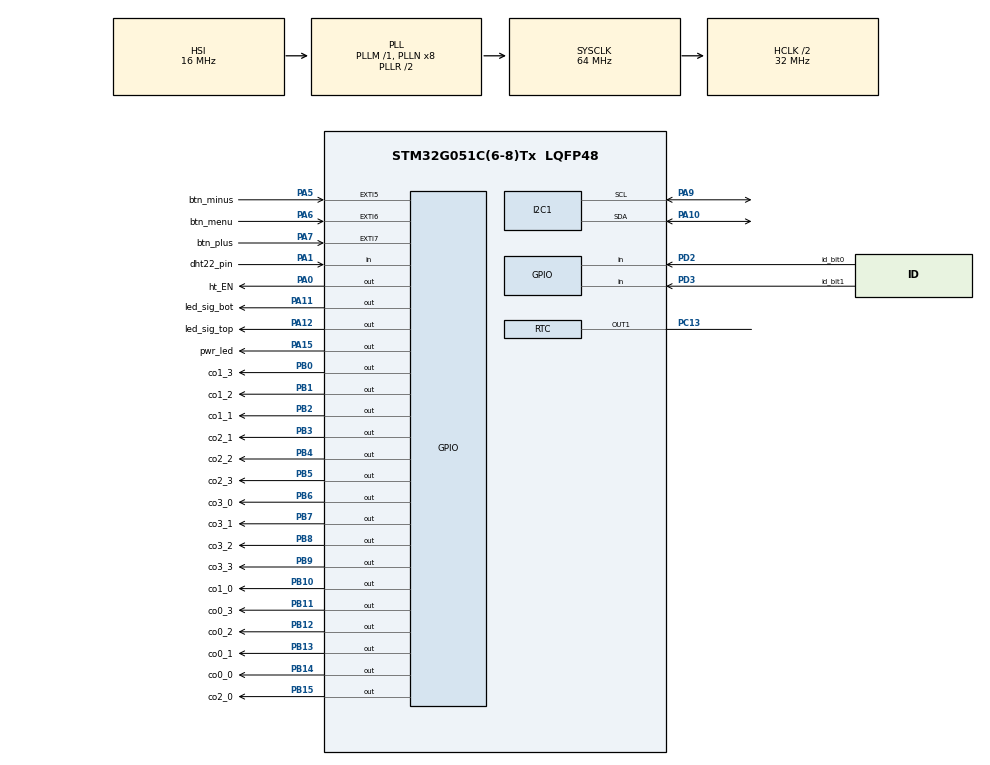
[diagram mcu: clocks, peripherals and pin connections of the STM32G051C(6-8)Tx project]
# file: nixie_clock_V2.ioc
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I2C1.Timing=0x00B07CB4
Mcu.Family=STM32G0
Mcu.Name=STM32G051C(6-8)Tx
Mcu.Package=LQFP48
NVIC.EXTI4_15_IRQn=true\:0\:0\:false\:false\:true\:true\:true\:true
NVIC.RTC_TAMP_IRQn=true\:0\:0\:false\:false\:true\:true\:true\:true
NVIC.TIM1_BRK_UP_TRG_COM_IRQn=true\:0\:0\:false\:false\:true\:true\:true\:true
PA0.GPIO_Label=ht_EN
PA0.GPIO_PuPd=GPIO_PULLUP
PA0.PinState=GPIO_PIN_SET
PA0.Signal=GPIO_Output
PA1.GPIO_Label=dht22_pin
PA1.GPIO_PuPd=GPIO_PULLUP
PA1.Signal=GPIO_Input
PA10.Mode=I2C
PA10.Signal=I2C1_SDA
PA11\ [PA9].GPIO_Label=led_sig_bot
PA11\ [PA9].Signal=GPIO_Output
PA12\ [PA10].GPIO_Label=led_sig_top
PA12\ [PA10].Signal=GPIO_Output
PA15.GPIO_Label=pwr_led
PA15.PinState=GPIO_PIN_SET
PA15.Signal=GPIO_Output
PA5.GPIO_Label=btn_minus
PA5.GPIO_ModeDefaultEXTI=GPIO_MODE_IT_FALLING
PA5.Signal=GPXTI5
PA6.GPIO_Label=btn_menu
PA6.GPIO_ModeDefaultEXTI=GPIO_MODE_IT_FALLING
PA6.Signal=GPXTI6
PA7.GPIO_Label=btn_plus
PA7.GPIO_ModeDefaultEXTI=GPIO_MODE_IT_FALLING
PA7.Signal=GPXTI7
PA9.Mode=I2C
PA9.Signal=I2C1_SCL
PB0.GPIO_Label=co1_3
PB0.GPIO_ModeDefaultOutputPP=GPIO_MODE_OUTPUT_PP
PB0.GPIO_PuPd=GPIO_PULLDOWN
PB0.GPIO_Speed=GPIO_SPEED_FREQ_LOW
PB0.PinState=GPIO_PIN_RESET
PB0.Signal=GPIO_Output
PB1.GPIO_Label=co1_2
PB1.GPIO_ModeDefaultOutputPP=GPIO_MODE_OUTPUT_PP
PB1.GPIO_PuPd=GPIO_PULLDOWN
PB1.GPIO_Speed=GPIO_SPEED_FREQ_LOW
PB1.PinState=GPIO_PIN_RESET
PB1.Signal=GPIO_Output
PB10.GPIO_Label=co1_0
PB10.GPIO_ModeDefaultOutputPP=GPIO_MODE_OUTPUT_PP
PB10.GPIO_PuPd=GPIO_PULLDOWN
PB10.GPIO_Speed=GPIO_SPEED_FREQ_LOW
PB10.PinState=GPIO_PIN_RESET
PB10.Signal=GPIO_Output
PB11.GPIO_Label=co0_3
PB11.GPIO_ModeDefaultOutputPP=GPIO_MODE_OUTPUT_PP
PB11.GPIO_PuPd=GPIO_PULLDOWN
PB11.GPIO_Speed=GPIO_SPEED_FREQ_LOW
PB11.PinState=GPIO_PIN_RESET
PB11.Signal=GPIO_Output
PB12.GPIO_Label=co0_2
PB12.GPIO_ModeDefaultOutputPP=GPIO_MODE_OUTPUT_PP
PB12.GPIO_PuPd=GPIO_PULLDOWN
PB12.GPIO_Speed=GPIO_SPEED_FREQ_LOW
PB12.PinState=GPIO_PIN_RESET
PB12.Signal=GPIO_Output
PB13.GPIO_Label=co0_1
PB13.GPIO_ModeDefaultOutputPP=GPIO_MODE_OUTPUT_PP
PB13.GPIO_PuPd=GPIO_PULLDOWN
PB13.GPIO_Speed=GPIO_SPEED_FREQ_LOW
PB13.PinState=GPIO_PIN_RESET
PB13.Signal=GPIO_Output
PB14.GPIO_Label=co0_0
PB14.GPIO_ModeDefaultOutputPP=GPIO_MODE_OUTPUT_PP
PB14.GPIO_PuPd=GPIO_PULLDOWN
PB14.GPIO_Speed=GPIO_SPEED_FREQ_LOW
PB14.PinState=GPIO_PIN_RESET
PB14.Signal=GPIO_Output
PB15.GPIO_Label=co2_0
PB15.GPIO_ModeDefaultOutputPP=GPIO_MODE_OUTPUT_PP
PB15.GPIO_PuPd=GPIO_PULLDOWN
PB15.GPIO_Speed=GPIO_SPEED_FREQ_LOW
PB15.PinState=GPIO_PIN_RESET
PB15.Signal=GPIO_Output
PB2.GPIO_Label=co1_1
PB2.GPIO_ModeDefaultOutputPP=GPIO_MODE_OUTPUT_PP
PB2.GPIO_PuPd=GPIO_PULLDOWN
PB2.GPIO_Speed=GPIO_SPEED_FREQ_LOW
PB2.PinState=GPIO_PIN_RESET
PB2.Signal=GPIO_Output
PB3.GPIO_Label=co2_1
PB3.GPIO_ModeDefaultOutputPP=GPIO_MODE_OUTPUT_PP
PB3.GPIO_PuPd=GPIO_PULLDOWN
PB3.GPIO_Speed=GPIO_SPEED_FREQ_LOW
PB3.PinState=GPIO_PIN_RESET
PB3.Signal=GPIO_Output
PB4.GPIO_Label=co2_2
PB4.GPIO_ModeDefaultOutputPP=GPIO_MODE_OUTPUT_PP
PB4.GPIO_PuPd=GPIO_PULLDOWN
PB4.GPIO_Speed=GPIO_SPEED_FREQ_LOW
PB4.PinState=GPIO_PIN_RESET
PB4.Signal=GPIO_Output
PB5.GPIO_Label=co2_3
PB5.GPIO_ModeDefaultOutputPP=GPIO_MODE_OUTPUT_PP
PB5.GPIO_PuPd=GPIO_PULLDOWN
PB5.GPIO_Speed=GPIO_SPEED_FREQ_LOW
PB5.PinState=GPIO_PIN_RESET
PB5.Signal=GPIO_Output
PB6.GPIO_Label=co3_0
PB6.GPIO_ModeDefaultOutputPP=GPIO_MODE_OUTPUT_PP
PB6.GPIO_PuPd=GPIO_PULLDOWN
PB6.GPIO_Speed=GPIO_SPEED_FREQ_LOW
PB6.PinState=GPIO_PIN_RESET
PB6.Signal=GPIO_Output
PB7.GPIO_Label=co3_1
PB7.GPIO_ModeDefaultOutputPP=GPIO_MODE_OUTPUT_PP
PB7.GPIO_PuPd=GPIO_PULLDOWN
PB7.GPIO_Speed=GPIO_SPEED_FREQ_LOW
PB7.PinState=GPIO_PIN_RESET
PB7.Signal=GPIO_Output
PB8.GPIO_Label=co3_2
PB8.GPIO_ModeDefaultOutputPP=GPIO_MODE_OUTPUT_PP
PB8.GPIO_PuPd=GPIO_PULLDOWN
PB8.GPIO_Speed=GPIO_SPEED_FREQ_LOW
PB8.PinState=GPIO_PIN_RESET
PB8.Signal=GPIO_Output
PB9.GPIO_Label=co3_3
PB9.GPIO_ModeDefaultOutputPP=GPIO_MODE_OUTPUT_PP
PB9.GPIO_PuPd=GPIO_PULLDOWN
PB9.GPIO_Speed=GPIO_SPEED_FREQ_LOW
PB9.PinState=GPIO_PIN_RESET
PB9.Signal=GPIO_Output
PC13.Mode=Calibration_1Hz
PC13.Signal=RTC_OUT1
PC14-OSC32_IN\ (PC14).Mode=LSE-External-Oscillator
PC14-OSC32_IN\ (PC14).Signal=RCC_OSC32_IN
PC15-OSC32_OUT\ (PC15).Mode=LSE-External-Oscillator
PC15-OSC32_OUT\ (PC15).Signal=RCC_OSC32_OUT
PD2.GPIO_Label=id_bit0
PD2.GPIO_PuPd=GPIO_PULLUP
PD2.Signal=GPIO_Input
PD3.GPIO_Label=id_bit1
PD3.GPIO_PuPd=GPIO_PULLUP
PD3.Signal=GPIO_Input
ProjectManager.HeapSize=0x200
ProjectManager.StackSize=0x400
ProjectManager.TargetToolchain=CMake
RCC.ADCFreq_Value=64000000
RCC.AHBCLKDivider=RCC_SYSCLK_DIV2
RCC.AHBFreq_Value=32000000
RCC.CortexFreq_Value=32000000
RCC.EXTERNAL_CLOCK_VALUE=48000
RCC.HCLKFreq_Value=32000000
RCC.HSE_VALUE=8000000
RCC.HSI_VALUE=16000000
RCC.RTCClockSelection=RCC_RTCCLKSOURCE_LSE
RCC.SYSCLKFreq_VALUE=64000000
RCC.SYSCLKSource=RCC_SYSCLKSOURCE_PLLCLK
RCC.VCOOutputFreq_Value=128000000
RTC.Alarm-Alarm\ A=RTC_ALARM_A
RTC.Date=15
RTC.DayLightSaving=RTC_DAYLIGHTSAVING_ADD1H
RTC.Hours=14
RTC.Minutes=10
RTC.Month=RTC_MONTH_OCTOBER
RTC.WakeUpClock-WakeUp=RTC_WAKEUPCLOCK_CK_SPRE_16BITS
RTC.WakeUpCounter-WakeUp=0
RTC.WeekDay=RTC_WEEKDAY_WEDNESDAY
TIM1.AutoReloadPreload=TIM_AUTORELOAD_PRELOAD_ENABLE
TIM1.ClockDivision=TIM_CLOCKDIVISION_DIV1
TIM1.Period=24000
TIM1.Prescaler=1000
VP_RTC_VS_RTC_Activate.Mode=RTC_Enabled
VP_RTC_VS_RTC_Alarm_A_Intern.Mode=Alarm A
VP_RTC_VS_RTC_Calendar.Mode=RTC_Calendar
VP_RTC_VS_RTC_WakeUp_intern.Mode=WakeUp
VP_SYS_VS_DBSignals.Mode=DisableDeadBatterySignals
VP_TIM1_VS_ClockSourceINT.Mode=Internal
board=custom

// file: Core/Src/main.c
/* USER CODE BEGIN Header */
/**
  ******************************************************************************
  * @file           : main.c
  * @brief          : Main program body
  ******************************************************************************
  * @attention
  *
  * Copyright (c) 2025 STMicroelectronics.
  * All rights reserved.
  *
  * This software is licensed under terms that can be found in the LICENSE file
  * in the root directory of this software component.
  * If no LICENSE file comes with this software, it is provided AS-IS.
  *
  ******************************************************************************
  */

/**
 * WHEN GENERATING NEW CODE VIA CUBEMX ------> COMMENT OUT THE TIME SETTING IN RTC INIT
 */

 /** TO DO LIST
  * //TODO: Implement indicator LEDS on the front and their function
  * //TODO: Implement manual time setting via buttons
  * //TODO: Implement On/Off automatic
  * //TODO: Implement ID system for submodules
  * //TODO: Implement DCF77 Code
 */

/* USER CODE END Header */
#include "main.h"

/* USER CODE BEGIN Includes */
#include "cmsis_gcc.h"
#include "ssd1306_fonts.h"
#include "stm32g051xx.h"
#include "stm32g0xx_hal.h"
#include "stm32g0xx_hal_def.h"
#include "stm32g0xx_hal_gpio.h"
#include "stm32g0xx_hal_rtc.h"
#include "stm32g0xx_hal_rtc_ex.h"

#include <stdint.h>
#include "stdio.h"
#include "ssd1306.h"
#include "output_tube.h"
#include "menu.h"
#include "stm32g0xx_hal_tim.h"
#include "dht22.h"
/* USER CODE END Includes */

/* USER CODE BEGIN PTD */
/**
 * DataDigital struct to hold digital values of the time from RTC
 */
struct time_date_DataDigital {
  uint8_t hours, minutes, seconds;

  uint8_t day, weekday, month, year;
} TD_data;

/* USER CODE END PTD */

/* USER CODE BEGIN PM */

#define DISPLAY_TIME_DATE_X_OFFSET 42
#define DISPLAY_TIME_Y_OFFSET       0
#define DISPLAY_DATE_Y_OFFSET      11
#define DISPLAY_MISC_Y_OFFSET      22
#define DISPLAY_MISC_X_OFFSET     112

/**
 * These should only be used one time at the first programming of the mcu. When you do have to manually set the time, just
 * put the right data here and change the RANDOM_SEED_OFFSET to something diffrent than the current value (16bit)
 */
#define RANDOM_SEED_UPDATE 0x2344

#define CURRENT_TIME_HOURS   13
#define CURRENT_TIME_MINUTES 13
#define CURRENT_TIME_SECONDS  0

#define CURRENT_DATE_YEAR    25
#define CURRENT_DATE_MONTH   12
#define CURRENT_DATE_DAY     16
#define CURRENT_DATE_WEEKDAY  2

//Interval in which the time updates. 1s for oled screen and second accuracy, 60 for nixie display
#define UPDATE_INTERVAL 60

//Reset time for the display of the menu button on the oled
#define DISPLAY_MENU_RESET_TIME 750

//Timeouts for the menus. 10s for temp and hmd, 60s for everything else
#define DISPLAY_MENU_1_TIMEOUT 10000
#define DISPLAY_MENU_X_TIMEOUT 60000

#define set 1
#define true 1
#define isSet 1
#define isPressed 1

#define reset 0
#define false 0
#define isNotSet 0
#define isNotPressed 0

//--------------------------------------------------------- Menu stuff makros and variables

#define menu_size 8

/**
 * @brief: Main menu structure for the whole clock
 * @param 0 -> normal time display
 * @param 1 -> Temperature and humidity sensor (Timeout 5s)
 * @param 2 -> Start/stop Time (time setting like above, but for start AND stop time) (Maybe multiple ones for morning and evening times?) (Timeout 30s) (Override with long press till next shutoff?)
 * @param 3 -> Time set (GETS DISABLED WHEN DCF77 PLUGIN BOARD ARE USED) (1. hours tens; 2. hours ones; 3. minutes tens; 4. minutes ones) (Timeout 30s)
 */
uint8_t menu_pos = 0;
uint8_t menu_pos_old = 0;

uint16_t menu_time_set[4] = {1010,110,101,11};
/* USER CODE END PM */

I2C_HandleTypeDef hi2c1;

RTC_HandleTypeDef hrtc;

TIM_HandleTypeDef htim1;

/* USER CODE BEGIN PV */
volatile uint8_t tick_flag = isNotSet;
volatile uint8_t counter_seconds = 0;

/**
 * Value of the button being pressed.
 * 1: MINUS
 * 2: MENU
 * 3: PLUS
 */
volatile int8_t btn_flag_menu  = 0;
volatile int8_t btn_flag_plus  = 0;
volatile int8_t btn_flag_minus = 0;

//used for blinking the screen when in menu. Set to DISPLAY_BLINK_TIME
volatile uint8_t tick_blink = 0;
uint8_t tick_blink_flag = 0;

uint8_t btn_pressed_flag = isNotPressed;

//for when the sensor is being used
volatile uint8_t sensor_flag = 0;

uint8_t id_read = 0b0011;

#if DEBUG_DISPLAY
/**
 * Char arrays to use strings directly on oled, could be omitted on final device.
 */
char timeData[15];
char dateData[15];
char miscData[2];
#endif

uint8_t check_if_addon();

HAL_StatusTypeDef setTime(uint8_t hour, uint8_t minute, uint8_t second);
HAL_StatusTypeDef setDate(uint8_t year, uint8_t month, uint8_t weekday, uint8_t date);
HAL_StatusTypeDef getTimeDate(char* time, char* date, struct time_date_DataDigital* dTime);

void set_tube_numbers(struct time_date_DataDigital* _time_date_data);
uint16_t combine_4bit_numbers(uint8_t num0, uint8_t num1, uint8_t num2, uint8_t num3);
void output_to_tubes(uint16_t _data);

void output_front_led(uint8_t led0, uint8_t led1);
void output_blink_front_leds(uint8_t _mode);

void menu1();
void menu_startStop();
void menu_timeSet();
void menu_timeout(uint8_t _menu_pos);

/**
 * main counter for getTick function
 */
uint32_t start_ms_counter = 0;
uint32_t start_ms_counter_blink = 0;
uint32_t start_ms_counter_menuTimeout = 0;
uint8_t  error_count = 0;

/* USER CODE END PV */

void SystemClock_Config(void);
static void MX_GPIO_Init(void);
static void MX_I2C1_Init(void);
static void MX_RTC_Init(void);
static void MX_TIM1_Init(void);
/* USER CODE BEGIN PFP */

#if DEBUG_DISPLAY
void ssd1306_writeTime(char* time);
void ssd1306_writeDate(char* date);
void ssd1306_writeTimeDate(char* time, char* date);
void ssd1306_writeMisc(char* _data);
#endif

/* USER CODE END PFP */

int main(void)
{

  /* MCU Configuration--------------------------------------------------------*/

  /* Reset of all peripherals, Initializes the Flash interface and the Systick. */
  HAL_Init();

  /* Configure the system clock */
  SystemClock_Config();

  /* Initialize all configured peripherals */
  MX_GPIO_Init();
  MX_I2C1_Init();
  MX_RTC_Init();
  MX_TIM1_Init();
  /* USER CODE BEGIN 2 */

  HAL_TIM_Base_Start_IT(&htim1);

  //Initialize the RTC
  HAL_RTC_Init(&hrtc);

  /**
   * If the random number stored in the backup register is diffrent from the current value, its not updating the Time and Date.
   * Seed, Time and Date are stored in makros
   */
   if(HAL_RTCEx_BKUPRead(&hrtc, RTC_BKP_DR1) != RANDOM_SEED_UPDATE) {
    setTime(CURRENT_TIME_HOURS, CURRENT_TIME_MINUTES, CURRENT_TIME_SECONDS);
    setDate(CURRENT_DATE_YEAR, CURRENT_DATE_MONTH, CURRENT_DATE_WEEKDAY, CURRENT_DATE_DAY);
  }

  __disable_irq();
  //Try 10 times or till a HAL_OK is retrieved to get the time from RTC
  if(getTimeDate(timeData, dateData, &TD_data) != HAL_OK) {
    HAL_StatusTypeDef _Status = HAL_ERROR;
    uint8_t tries = 0;
    while((_Status == HAL_ERROR) || (tries <= 10)) {
      _Status = getTimeDate(timeData, dateData, &TD_data);
      tries++;
    }
  }
  __enable_irq();

  //Set the Front LEDs On
  output_front_led(1, 1);

  //Output current time to tubes
  set_tube_numbers(&TD_data);

  #if DEBUG_DISPLAY
  /**
   * Constructor for the basic oled menu with predeceeding welcome message
   * // TODO LATER create a module check and modules (e.g. WIFI time sync, smart home features, etc.)
   */

  ssd1306_Init();
  ssd1306_SetCursor(10, 10);
  ssd1306_WriteString("Nixie Clock V2", Font_7x10, White);
  ssd1306_UpdateScreen();
  HAL_Delay(500);
  ssd1306_Fill(Black);
  ssd1306_SetCursor(0, 0);
  ssd1306_WriteString("Time: ", Font_7x10, White);
  ssd1306_writeTime(timeData);
  ssd1306_SetCursor(0, 11);
  ssd1306_WriteString("Date: ", Font_7x10, White);
  ssd1306_writeDate(dateData);
  ssd1306_SetCursor(0, 22);
  ssd1306_WriteString("Menu Position: ", Font_7x10, White);
  miscData[0] = '0';
  ssd1306_writeMisc(miscData);
  ssd1306_UpdateScreen();
  #endif

  //check for installed submodules
  id_read = check_if_addon();

  /* USER CODE END 2 */

  /* Infinite loop */
  /* USER CODE BEGIN WHILE */
  while (1)
  {
    if(tick_flag == isSet) { //flag set by interrupt by RTC on 1Hz

      getTimeDate(timeData, dateData, &TD_data);      //Get tiome from RTC registers

      #if DEBUG_DISPLAY
      ssd1306_writeTimeDate(timeData, dateData);
      #endif

      //Update Nixies, they dont have seconds!
      if(TD_data.seconds == 0) {
        set_tube_numbers(&TD_data);
      }

      if(menu_pos == 1) {
        counter_seconds++;
        if(counter_seconds >=4) {
          sensor_flag = 1;
          counter_seconds = 0;
        }
      }

      tick_flag = reset; //reset update flag
    }

    /**
     * Reset button number after some time (defined in DISPLAY_MENU_RESET_TIME)
     */
    if(btn_pressed_flag && ((HAL_GetTick()-start_ms_counter) > DISPLAY_MENU_RESET_TIME)) {

      miscData[0] = '0';
      ssd1306_writeMisc(miscData);
      btn_pressed_flag = isNotPressed;
    }

    //only start one time per menu change
    if(menu_pos != menu_pos_old)  {
      start_ms_counter_menuTimeout = HAL_GetTick();
      menu_pos_old = menu_pos;
    }

    //If menu_pos is other than normal time setting (=0), go into this MAIN MENU STRUCTURE
    if(menu_pos != 0) {

      switch(menu_pos) {
        case 1: //Display Temp and Hmd on nixie tubes. Left Temp, right hmd. TIMEOUT = 10s
          if(id_read != 0x0) {
            menu_pos++;
            break;  //Skips this menu when no DCF77 addon board is connected
          }

          menu_timeout(1);
          menu1();
          output_blink_front_leds(0);

          break;

        case 2: case 3: //Set start time of the clock. Can be set multiple times for a morning and evening routine TIMEOUT = 60s
          menu_timeout(2);
          menu_startStop();
          output_blink_front_leds(2);

          break;

        case 4: case 5: //Set stop time of the clock.
          menu_timeout(2);
          menu_startStop();
          output_blink_front_leds(3);

          break;

        case 6: case 7: //Set the time manually. must be disabled when module '00' is used (DCF77) TIMEOUT = 60s
          menu_timeout(3);
          menu_timeSet();
          output_blink_front_leds(1);
          break;

        default: break;
      }

      btn_flag_menu =  reset;
      btn_flag_minus = reset;
      btn_flag_plus =  reset;
    } else if(menu_pos == 0) output_front_led(1, 1);

    #ifdef DEBUG
    sprintf(miscData, "%01d", menu_pos);
    ssd1306_writeMisc(miscData);
    #endif

    /**
     * Debug function for development of the buttons
     */
    /*
    if((btn_flag_plus == isPressed) || (btn_flag_menu == isPressed) || (btn_flag_minus == isPressed)) {

      if(btn_flag_menu) {
        miscData[0] = 'M';
        ssd1306_writeMisc(miscData);
      }
      if(btn_flag_plus) {
        miscData[0] = '+';
        ssd1306_writeMisc(miscData);
      }
      if(btn_flag_minus) {
        miscData[0] = '-';
        ssd1306_writeMisc(miscData);
      }
      */

      /*Turns on the HT PSU
      switch (btn_flag) {
        case 2:

          HAL_GPIO_TogglePin(ht_EN_GPIO_Port, ht_EN_Pin);
          break;

        default:
          break;
      } */

      //start_ms_counter = HAL_GetTick();
      //btn_pressed_flag = isPressed;
      /*
      btn_flag_menu =  reset;
      btn_flag_minus = reset;
      btn_flag_plus =  reset;
    }
    */
    /* USER CODE END WHILE */

  }
}

void SystemClock_Config(void)
{
  RCC_OscInitTypeDef RCC_OscInitStruct = {0};
  RCC_ClkInitTypeDef RCC_ClkInitStruct = {0};

  /** Configure the main internal regulator output voltage
  */
  HAL_PWREx_ControlVoltageScaling(PWR_REGULATOR_VOLTAGE_SCALE1);

  /** Configure LSE Drive Capability
  */
  HAL_PWR_EnableBkUpAccess();
  __HAL_RCC_LSEDRIVE_CONFIG(RCC_LSEDRIVE_LOW);

  /** Initializes the RCC Oscillators according to the specified parameters
  * in the RCC_OscInitTypeDef structure.
  */
  RCC_OscInitStruct.OscillatorType = RCC_OSCILLATORTYPE_HSI|RCC_OSCILLATORTYPE_LSE;
  RCC_OscInitStruct.LSEState = RCC_LSE_ON;
  RCC_OscInitStruct.HSIState = RCC_HSI_ON;
  RCC_OscInitStruct.HSIDiv = RCC_HSI_DIV1;
  RCC_OscInitStruct.HSICalibrationValue = RCC_HSICALIBRATION_DEFAULT;
  RCC_OscInitStruct.PLL.PLLState = RCC_PLL_ON;
  RCC_OscInitStruct.PLL.PLLSource = RCC_PLLSOURCE_HSI;
  RCC_OscInitStruct.PLL.PLLM = RCC_PLLM_DIV1;
  RCC_OscInitStruct.PLL.PLLN = 8;
  RCC_OscInitStruct.PLL.PLLP = RCC_PLLP_DIV2;
  RCC_OscInitStruct.PLL.PLLQ = RCC_PLLQ_DIV2;
  RCC_OscInitStruct.PLL.PLLR = RCC_PLLR_DIV2;
  if (HAL_RCC_OscConfig(&RCC_OscInitStruct) != HAL_OK)
  {
    Error_Handler();
  }

  /** Initializes the CPU, AHB and APB buses clocks
  */
  RCC_ClkInitStruct.ClockType = RCC_CLOCKTYPE_HCLK|RCC_CLOCKTYPE_SYSCLK
                              |RCC_CLOCKTYPE_PCLK1;
  RCC_ClkInitStruct.SYSCLKSource = RCC_SYSCLKSOURCE_PLLCLK;
  RCC_ClkInitStruct.AHBCLKDivider = RCC_SYSCLK_DIV2;
  RCC_ClkInitStruct.APB1CLKDivider = RCC_HCLK_DIV1;

  if (HAL_RCC_ClockConfig(&RCC_ClkInitStruct, FLASH_LATENCY_1) != HAL_OK)
  {
    Error_Handler();
  }
}

static void MX_I2C1_Init(void)
{

  hi2c1.Instance = I2C1;
  hi2c1.Init.Timing = 0x00B07CB4;
  hi2c1.Init.OwnAddress1 = 0;
  hi2c1.Init.AddressingMode = I2C_ADDRESSINGMODE_7BIT;
  hi2c1.Init.DualAddressMode = I2C_DUALADDRESS_DISABLE;
  hi2c1.Init.OwnAddress2 = 0;
  hi2c1.Init.OwnAddress2Masks = I2C_OA2_NOMASK;
  hi2c1.Init.GeneralCallMode = I2C_GENERALCALL_DISABLE;
  hi2c1.Init.NoStretchMode = I2C_NOSTRETCH_DISABLE;
  if (HAL_I2C_Init(&hi2c1) != HAL_OK)
  {
    Error_Handler();
  }

  /** Configure Analogue filter
  */
  if (HAL_I2CEx_ConfigAnalogFilter(&hi2c1, I2C_ANALOGFILTER_ENABLE) != HAL_OK)
  {
    Error_Handler();
  }

  /** Configure Digital filter
  */
  if (HAL_I2CEx_ConfigDigitalFilter(&hi2c1, 0) != HAL_OK)
  {
    Error_Handler();
  }

}

static void MX_RTC_Init(void)
{

  //RTC_TimeTypeDef sTime = {0};
  //RTC_DateTypeDef sDate = {0};
  RTC_AlarmTypeDef sAlarm = {0};

  /** Initialize RTC Only
  */
  hrtc.Instance = RTC;
  hrtc.Init.HourFormat = RTC_HOURFORMAT_24;
  hrtc.Init.AsynchPrediv = 127;
  hrtc.Init.SynchPrediv = 255;
  hrtc.Init.OutPut = RTC_OUTPUT_DISABLE;
  hrtc.Init.OutPutRemap = RTC_OUTPUT_REMAP_NONE;
  hrtc.Init.OutPutPolarity = RTC_OUTPUT_POLARITY_HIGH;
  hrtc.Init.OutPutType = RTC_OUTPUT_TYPE_OPENDRAIN;
  hrtc.Init.OutPutPullUp = RTC_OUTPUT_PULLUP_NONE;
  if (HAL_RTC_Init(&hrtc) != HAL_OK)
  {
    Error_Handler();
  }

  /** Initialize RTC and set the Time and Date
  */
  /*
  sTime.Hours = 0x14;
  sTime.Minutes = 0x10;
  sTime.Seconds = 0x0;
  sTime.SubSeconds = 0x0;
  sTime.DayLightSaving = RTC_DAYLIGHTSAVING_ADD1H;
  sTime.StoreOperation = RTC_STOREOPERATION_RESET;
  if (HAL_RTC_SetTime(&hrtc, &sTime, RTC_FORMAT_BCD) != HAL_OK)
  {
    Error_Handler();
  }
  sDate.WeekDay = RTC_WEEKDAY_WEDNESDAY;
  sDate.Month = RTC_MONTH_OCTOBER;
  sDate.Date = 0x15;
  sDate.Year = 0x0;

  if (HAL_RTC_SetDate(&hrtc, &sDate, RTC_FORMAT_BCD) != HAL_OK)
  {
    Error_Handler();
  }
  */

  /** Enable the Alarm A
  */
  sAlarm.AlarmTime.Hours = 0x0;
  sAlarm.AlarmTime.Minutes = 0x0;
  sAlarm.AlarmTime.Seconds = 0x0;
  sAlarm.AlarmTime.SubSeconds = 0x0;
  sAlarm.AlarmTime.DayLightSaving = RTC_DAYLIGHTSAVING_ADD1H;
  sAlarm.AlarmTime.StoreOperation = RTC_STOREOPERATION_RESET;
  sAlarm.AlarmMask = RTC_ALARMMASK_NONE;
  sAlarm.AlarmSubSecondMask = RTC_ALARMSUBSECONDMASK_ALL;
  sAlarm.AlarmDateWeekDaySel = RTC_ALARMDATEWEEKDAYSEL_DATE;
  sAlarm.AlarmDateWeekDay = 0x1;
  sAlarm.Alarm = RTC_ALARM_A;
  if (HAL_RTC_SetAlarm_IT(&hrtc, &sAlarm, RTC_FORMAT_BCD) != HAL_OK)
  {
    Error_Handler();
  }

  /** Enable the WakeUp
  */
  if (HAL_RTCEx_SetWakeUpTimer_IT(&hrtc, 0, RTC_WAKEUPCLOCK_CK_SPRE_16BITS) != HAL_OK)
  {
    Error_Handler();
  }

  /** Enable Calibration
  */
  if (HAL_RTCEx_SetCalibrationOutPut(&hrtc, RTC_CALIBOUTPUT_1HZ) != HAL_OK)
  {
    Error_Handler();
  }

}

static void MX_TIM1_Init(void)
{

  TIM_ClockConfigTypeDef sClockSourceConfig = {0};
  TIM_MasterConfigTypeDef sMasterConfig = {0};

  htim1.Instance = TIM1;
  htim1.Init.Prescaler = 1000;
  htim1.Init.CounterMode = TIM_COUNTERMODE_UP;
  htim1.Init.Period = 24000;
  htim1.Init.ClockDivision = TIM_CLOCKDIVISION_DIV1;
  htim1.Init.RepetitionCounter = 0;
  htim1.Init.AutoReloadPreload = TIM_AUTORELOAD_PRELOAD_ENABLE;
  if (HAL_TIM_Base_Init(&htim1) != HAL_OK)
  {
    Error_Handler();
  }
  sClockSourceConfig.ClockSource = TIM_CLOCKSOURCE_INTERNAL;
  if (HAL_TIM_ConfigClockSource(&htim1, &sClockSourceConfig) != HAL_OK)
  {
    Error_Handler();
  }
  sMasterConfig.MasterOutputTrigger = TIM_TRGO_RESET;
  sMasterConfig.MasterOutputTrigger2 = TIM_TRGO2_RESET;
  sMasterConfig.MasterSlaveMode = TIM_MASTERSLAVEMODE_DISABLE;
  if (HAL_TIMEx_MasterConfigSynchronization(&htim1, &sMasterConfig) != HAL_OK)
  {
    Error_Handler();
  }

}

static void MX_GPIO_Init(void)
{
  GPIO_InitTypeDef GPIO_InitStruct = {0};

  /* GPIO Ports Clock Enable */
  __HAL_RCC_GPIOC_CLK_ENABLE();
  __HAL_RCC_GPIOA_CLK_ENABLE();
  __HAL_RCC_GPIOB_CLK_ENABLE();
  __HAL_RCC_GPIOD_CLK_ENABLE();

  /*Configure GPIO pin Output Level */
  HAL_GPIO_WritePin(GPIOA, ht_EN_Pin|pwr_led_Pin, GPIO_PIN_SET);

  /*Configure GPIO pin Output Level */
  HAL_GPIO_WritePin(GPIOB, co1_3_Pin|co1_2_Pin|co1_1_Pin|co1_0_Pin
                          |co0_3_Pin|co0_2_Pin|co0_1_Pin|co0_0_Pin
                          |co2_0_Pin|co2_1_Pin|co2_2_Pin|co2_3_Pin
                          |co3_0_Pin|co3_1_Pin|co3_2_Pin|co3_3_Pin, GPIO_PIN_RESET);

  /*Configure GPIO pin Output Level */
  HAL_GPIO_WritePin(GPIOA, led_sig_bot_Pin|led_sig_top_Pin, GPIO_PIN_RESET);

  /*Configure GPIO pin : ht_EN_Pin */
  GPIO_InitStruct.Pin = ht_EN_Pin;
  GPIO_InitStruct.Mode = GPIO_MODE_OUTPUT_PP;
  GPIO_InitStruct.Pull = GPIO_PULLUP;
  GPIO_InitStruct.Speed = GPIO_SPEED_FREQ_LOW;
  HAL_GPIO_Init(ht_EN_GPIO_Port, &GPIO_InitStruct);

  /*Configure GPIO pin : dht22_pin_Pin */
  GPIO_InitStruct.Pin = dht22_pin_Pin;
  GPIO_InitStruct.Mode = GPIO_MODE_INPUT;
  GPIO_InitStruct.Pull = GPIO_PULLUP;
  HAL_GPIO_Init(dht22_pin_GPIO_Port, &GPIO_InitStruct);

  /*Configure GPIO pins : btn_minus_Pin btn_menu_Pin btn_plus_Pin */
  GPIO_InitStruct.Pin = btn_minus_Pin|btn_menu_Pin|btn_plus_Pin;
  GPIO_InitStruct.Mode = GPIO_MODE_IT_FALLING;
  GPIO_InitStruct.Pull = GPIO_NOPULL;
  HAL_GPIO_Init(GPIOA, &GPIO_InitStruct);

  /*Configure GPIO pins : co1_3_Pin co1_2_Pin co1_1_Pin co1_0_Pin
                           co0_3_Pin co0_2_Pin co0_1_Pin co0_0_Pin
                           co2_0_Pin co2_1_Pin co2_2_Pin co2_3_Pin
                           co3_0_Pin co3_1_Pin co3_2_Pin co3_3_Pin */
  GPIO_InitStruct.Pin = co1_3_Pin|co1_2_Pin|co1_1_Pin|co1_0_Pin
                          |co0_3_Pin|co0_2_Pin|co0_1_Pin|co0_0_Pin
                          |co2_0_Pin|co2_1_Pin|co2_2_Pin|co2_3_Pin
                          |co3_0_Pin|co3_1_Pin|co3_2_Pin|co3_3_Pin;
  GPIO_InitStruct.Mode = GPIO_MODE_OUTPUT_PP;
  GPIO_InitStruct.Pull = GPIO_PULLDOWN;
  GPIO_InitStruct.Speed = GPIO_SPEED_FREQ_LOW;
  HAL_GPIO_Init(GPIOB, &GPIO_InitStruct);

  /*Configure GPIO pins : led_sig_bot_Pin led_sig_top_Pin pwr_led_Pin */
  GPIO_InitStruct.Pin = led_sig_bot_Pin|led_sig_top_Pin|pwr_led_Pin;
  GPIO_InitStruct.Mode = GPIO_MODE_OUTPUT_PP;
  GPIO_InitStruct.Pull = GPIO_NOPULL;
  GPIO_InitStruct.Speed = GPIO_SPEED_FREQ_LOW;
  HAL_GPIO_Init(GPIOA, &GPIO_InitStruct);

  /*Configure GPIO pins : id_bit0_Pin id_bit1_Pin */
  GPIO_InitStruct.Pin = id_bit0_Pin|id_bit1_Pin;
  GPIO_InitStruct.Mode = GPIO_MODE_INPUT;
  GPIO_InitStruct.Pull = GPIO_PULLUP;
  HAL_GPIO_Init(GPIOD, &GPIO_InitStruct);

  /* EXTI interrupt init*/
  HAL_NVIC_SetPriority(EXTI4_15_IRQn, 0, 0);
  HAL_NVIC_EnableIRQ(EXTI4_15_IRQn);

}

/* USER CODE BEGIN 4 */

uint8_t check_if_addon() {
  //Checks both id_bit0 and id_bit1 and combines them.
  return (((GPIOD->IDR & GPIO_IDR_ID3) << 1) | (GPIOD->IDR & GPIO_IDR_ID2));
}

/**
 * Sets the Time of the RTC. IMPORTANT: When regenerating the code through CubeMX comment out the time setting in the predefined function.
 * This is to only update the time when needed and not every time you program the MCU. The check is made through the Backup register DR1, to which a
 * random number is written. Only update the time when this number is not the same on startup!
 */
HAL_StatusTypeDef setTime(uint8_t hour, uint8_t minute, uint8_t second) {
  RTC_TimeTypeDef sTime = {0};
  sTime.Hours = hour;
  sTime.Minutes = minute;
  sTime.Seconds = second;
  sTime.SubSeconds = 0x0;

  if (HAL_RTC_SetTime(&hrtc, &sTime, RTC_FORMAT_BIN) != HAL_OK)
  {
    return HAL_ERROR;
  }
  HAL_RTC_DST_Sub1Hour(&hrtc);  // TODO Daylight Saving Time,check for last sunday of march and last sunday in october to set opr unset DST.
  return HAL_OK;
}

/**
 * Sets the Date of the RTC. IMPORTANT: When regenerating the code through CubeMX comment out the date setting in the predefined function.
 * This is to only update the date when needed and not every time you program the MCU. The check is made through the Backup register DR1, to which a
 * random number is written. Only update the Date when this number is not the same on startup!
 */
HAL_StatusTypeDef setDate(uint8_t year, uint8_t month, uint8_t weekday, uint8_t date) { //weekday->Monday = 1, date->which day in month (0-31)
  RTC_DateTypeDef sDate = {0};
  sDate.WeekDay = weekday;
  sDate.Month = month;
  sDate.Date = date;
  sDate.Year = year;

  if (HAL_RTC_SetDate(&hrtc, &sDate, RTC_FORMAT_BIN) != HAL_OK)
  {
    return HAL_ERROR;
  }

  HAL_RTCEx_BKUPWrite(&hrtc, RTC_BKP_DR1, RANDOM_SEED_UPDATE);

  return HAL_OK;
}

/**
 * Function to get time and date from RTC module. IMPORTANT: Always get time and then date TOGETHER! otherwize the druids of the forest will hunt you
 * Creates strings in predefined vhar arrays to directly print to an oled.
 * TODO: put time and date in an integer struct to push to the nixies
 */
HAL_StatusTypeDef getTimeDate(char* time, char* date, struct time_date_DataDigital* dTime) {
  RTC_DateTypeDef gDate;
  RTC_TimeTypeDef gTime;
  uint8_t _error_count = 0;

  //Get current time
  if(HAL_RTC_GetTime(&hrtc, &gTime, RTC_FORMAT_BIN) != HAL_OK) _error_count++;

  //Get current date
  if(HAL_RTC_GetDate(&hrtc, &gDate, RTC_FORMAT_BIN) != HAL_OK) _error_count++;

  dTime->hours = gTime.Hours;
  dTime->minutes = gTime.Minutes;
  dTime->seconds = gTime.Seconds;

  dTime->day = gDate.Date;
  dTime->weekday = gDate.WeekDay;
  dTime->month = gDate.Month;
  dTime->year = gDate.Year;

  #if DEBUG_DISPLAY
  /* Display time Format: hh:mm:ss */
  sprintf(time,"%02d:%02d:%02d",gTime.Hours, gTime.Minutes, gTime.Seconds);

  /* Display date Format: dd-mm-yyyy */
  sprintf(date,"%02d-%02d-%2d",gDate.Date, gDate.Month, 2000 + gDate.Year);
  #endif

  if(_error_count != 0) return HAL_ERROR;
  return HAL_OK;
}

/**
 * Combined oled writing function
 */
void ssd1306_writeTimeDate(char* time, char* date) {
  ssd1306_SetCursor(DISPLAY_TIME_DATE_X_OFFSET, DISPLAY_TIME_Y_OFFSET);
  ssd1306_WriteString(time, Font_7x10, White);
  ssd1306_UpdateScreen();

  ssd1306_SetCursor(DISPLAY_TIME_DATE_X_OFFSET, DISPLAY_DATE_Y_OFFSET);
  ssd1306_WriteString(date, Font_7x10, White);
  ssd1306_UpdateScreen();
}

/**
 * Simplified function to display the date on an oled screen.
 * Cursor offsets are stored in makros
 */
void ssd1306_writeTime(char* time) {
  ssd1306_SetCursor(DISPLAY_TIME_DATE_X_OFFSET, DISPLAY_TIME_Y_OFFSET);
  ssd1306_WriteString(time, Font_7x10, White);
  ssd1306_UpdateScreen();
}

/**
 * Simplified function to display the time on an oled screen.
 * Cursor offsets are stored in makros
 */
void ssd1306_writeDate(char* date) {
  ssd1306_SetCursor(DISPLAY_TIME_DATE_X_OFFSET, DISPLAY_DATE_Y_OFFSET);
  ssd1306_WriteString(date, Font_7x10, White);
  ssd1306_UpdateScreen();
}

void ssd1306_writeMisc(char* _data) {
  ssd1306_SetCursor(DISPLAY_MISC_X_OFFSET, DISPLAY_MISC_Y_OFFSET);
  ssd1306_WriteString(_data, Font_7x10, White);
  ssd1306_UpdateScreen();
}

/** Function for changing the tubes to the corresponding time values
 */
void set_tube_numbers(struct time_date_DataDigital* _time_date_data) {

  //Start by extracting the single numbers out of the time struct to fuse them to a 16-Bit number later

  //Hours
  //calculate the tens
  uint8_t hours_tens = _time_date_data->hours / 10;
  //calculate the ones
  uint8_t hours_ones = _time_date_data->hours % 10;

  //Minutes
  //calculate the tens
  uint8_t minutes_tens = _time_date_data->minutes / 10;
  //calculate the ones
  uint8_t minutes_ones = _time_date_data->minutes % 10;

  /*Works miracilously perfectly :) but useless unless the PCB changes to accomondate for the correct pin order
  uint16_t _timeData_port = (hours_tens << 12) | (hours_ones << 8) |
                            (minutes_tens << 4) | minutes_ones;
  */

  //Use variable in between the output and the bit sets for easy debugging. Speed does'nt matter
  //uint16_t _timeData_port_temp = combine_4bit_numbers(hours_tens, hours_ones, minutes_tens, minutes_ones);

  //Outputs 16bit data to the whole Port B of the micro.
  output_to_tubes(combine_4bit_numbers(hours_tens, hours_ones, minutes_tens, minutes_ones));

  return;
}

/**
 * Sorts the bits to the correct spot for the output register TODO: Update PCB next time to have a nicer output register format not needing this shit -_-
 */
uint16_t combine_4bit_numbers(uint8_t num0, uint8_t num1, uint8_t num2, uint8_t num3) {

  uint16_t result = 0;

  // Bit 0: bit 3 von num1
  result |= ((num1 >> 3) & 0x1) << 0;
  // Bit 1: bit 2 von num1
  result |= ((num1 >> 2) & 0x1) << 1;
  // Bit 2: bit 1 von num1
  result |= ((num1 >> 1) & 0x1) << 2;
  // Bit 3: bit 1 von num2
  result |= ((num2 >> 1) & 0x1) << 3;
  // Bit 4: bit 2 von num2
  result |= ((num2 >> 2) & 0x1) << 4;
  // Bit 5: bit 3 von num2
  result |= ((num2 >> 3) & 0x1) << 5;
  // Bit 6: bit 0 von num3
  result |= ((num3 >> 0) & 0x1) << 6;
  // Bit 7: bit 1 von num3
  result |= ((num3 >> 1) & 0x1) << 7;
  // Bit 8: bit 2 von num3
  result |= ((num3 >> 2) & 0x1) << 8;
  // Bit 9: bit 3 von num3
  result |= ((num3 >> 3) & 0x1) << 9;
  // Bit 10: bit 0 von num1
  result |= ((num1 >> 0) & 0x1) << 10;
  // Bit 11: bit 3 von num0
  result |= ((num0 >> 3) & 0x1) << 11;
  // Bit 12: bit 2 von num0
  result |= ((num0 >> 2) & 0x1) << 12;
  // Bit 13: bit 1 von num0
  result |= ((num0 >> 1) & 0x1) << 13;
  // Bit 14: bit 0 von num0
  result |= ((num0 >> 0) & 0x1) << 14;
  // Bit 15: bit 0 von num2
  result |= ((num2 >> 0) & 0x1) << 15;

  return result;

}

void output_to_tubes(uint16_t _data) {
  //Output on the whole PORTB via the ODR (Output Data Register)
  GPIOB->ODR = _data;
}

void menu1() {
  if(sensor_flag) {
    uint8_t tempData_tens;
    uint8_t tempData_ones;
    uint8_t hmdData_tens;
    uint8_t hmdData_ones;

    DHT22_ReadData(&tempData_tens, &tempData_ones, &hmdData_tens, &hmdData_ones);
    output_to_tubes(combine_4bit_numbers(tempData_tens, tempData_ones, hmdData_tens, hmdData_ones));

    sensor_flag = 0;
  }
}

void menu_startStop() {

}

void menu_timeSet() {

}

void menu_timeout(uint8_t _menu_pos) {

  if((btn_flag_plus == isPressed) || (btn_flag_menu == isPressed) || (btn_flag_minus == isPressed)) {
    start_ms_counter_menuTimeout = HAL_GetTick();
  }

  if(_menu_pos != 1) {

    //When timeout happens, get back to menu 0;
    if((HAL_GetTick()-start_ms_counter_menuTimeout) > DISPLAY_MENU_X_TIMEOUT) {
      menu_pos = 0;
      //start_ms_counter_menuTimeout = 0;
    }

  } else if (menu_pos == 1) {

    //When timeout happens, get back to menu 0;
    if((HAL_GetTick()-start_ms_counter_menuTimeout) > DISPLAY_MENU_1_TIMEOUT) {
      menu_pos = 0;
      //start_ms_counter_menuTimeout = 0;
    }

  }
}

/**
 * @brief: Function to blink the front leds.
 * @param mode: 0-> no blinking, 1-> both, 2-> top, 3-> bot
 */
void output_blink_front_leds(uint8_t _mode) {
  switch(_mode) {
    case 0:
      output_front_led(1, 1);
      break;

    case 1:
      output_front_led(tick_blink, tick_blink);
      break;

    case 2:
      output_front_led(tick_blink, 1);
      break;

    case 3:
      output_front_led(1, tick_blink);
      break;
  }
}

/**
 * @brief: Function to manipulate the front leds.
 * @param led0: top led
 * @param led1: bottom led
 * @param led_status: 0->off; 1->on
 */
void output_front_led(uint8_t led0, uint8_t led1) {

  if(led0)  GPIOA->BSRR = GPIO_BSRR_BS11;
  if(!led0) GPIOA->BSRR = GPIO_BSRR_BR11;

  if(led1)  GPIOA->BSRR = GPIO_BSRR_BS12;
  if(!led1) GPIOA->BSRR = GPIO_BSRR_BR12;
}

void HAL_TIM_PeriodElapsedCallback(TIM_HandleTypeDef *htim) {
  tick_blink = !tick_blink;
}

//Interrupt for triggering an update event every second
void HAL_RTCEx_WakeUpTimerEventCallback(RTC_HandleTypeDef *hrtc) {
  tick_flag = set;

  //counter_seconds++;
}

/**
 * Interrupt Handler for the buttons
 */
void HAL_GPIO_EXTI_Falling_Callback(uint16_t GPIO_Pin) {
  switch(GPIO_Pin) {
    case btn_plus_Pin:
      btn_flag_plus = 1;
      break;

    case btn_minus_Pin:
      btn_flag_minus = 1;
      break;

    case btn_menu_Pin:
      btn_flag_menu = 1;

      //Cycle through the menu positions through all menus (4 menus -> 0,1,2,3 -> so menu_size-1)
      if(menu_pos < menu_size-1) menu_pos++;
      else menu_pos = 0;

      if(menu_pos == 1) sensor_flag = 1;

      break;

    default:
      break;
  }
}

/* USER CODE END 4 */

void Error_Handler(void)
{
  __disable_irq();
  while (1)
  {
  }
}
